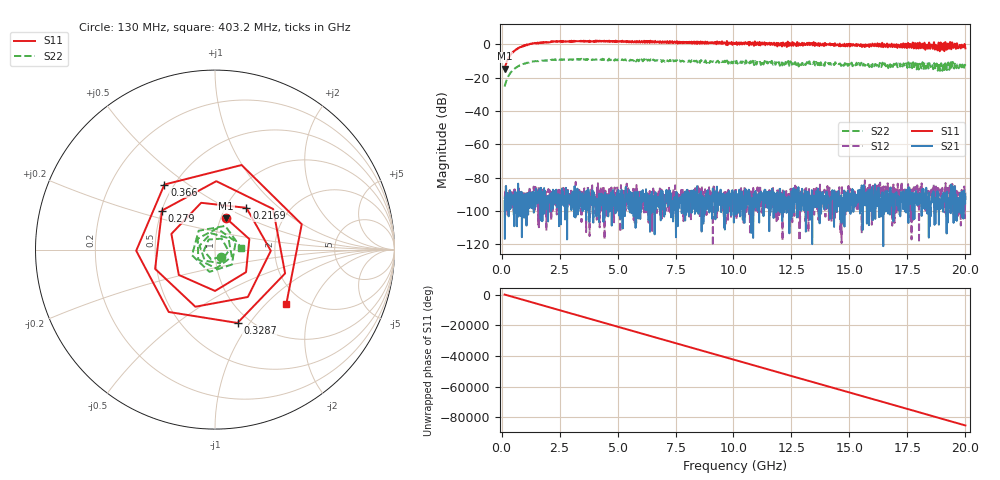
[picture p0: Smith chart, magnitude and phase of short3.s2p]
!Created with skrf (http://scikit-rf.org).
# GHz S RI R 50.0
!freq ReS11 ImS11 ReS21 ImS21 ReS12 ImS12 ReS22 ImS22
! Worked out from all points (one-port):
!   1601 points, 130 MHz to 20 GHz, reference 50 ohm
!   lowest |S11| = -14.6 dB at 130 MHz (marker M1), VSWR 1.46, Z = 53 + j19.2 ohm
!   |S11| at or under -10 dB: start of sweep to 235.7 MHz
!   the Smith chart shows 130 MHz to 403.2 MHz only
!   S11 on the Smith chart (normalised r, x): 130 MHz: 1.06, +0.38; 216.9 MHz: 1.25, +0.63; 279 MHz: 0.50, +0.25; 328.7 MHz: 0.88, -0.88; 366 MHz: 0.44, +0.41; 403.2 MHz: 1.64, -1.34
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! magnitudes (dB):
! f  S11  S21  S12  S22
! 130 MHz  -14.6  -94.1  -93.0  -25.3
! 216.9 MHz  -10.7  -99.4  -90.5  -21.5
! 279 MHz  -8.7  -91.0  -91.4  -19.6
! 328.7 MHz  -7.4  -95.2  -87.4  -18.2
! 366 MHz  -6.8  -95.0  -95.5  -17.6
! 403.2 MHz  -6.0  -89.4  -89.2  -16.7
! 738.5 MHz  -2.1  -93.0  -86.5  -12.9
! 1.297 GHz  0.4  -92.8  -94.7  -10.5
! 2.229 GHz  1.8  -89.3  -95.9  -9.2
! 3.446 GHz  1.8  -92.2  -106.7  -8.8
! 6.762 GHz  1.5  -91.5  -92.1  -9.9
! 10.06 GHz  0.5  -90.8  -91.7  -11.8
! 12.54 GHz  1.4  -96.7  -106.9  -11.6
! 12.9 GHz  0.0  -97.1  -90.5  -12.0
! 13.38 GHz  0.7  -87.6  -93.7  -10.9
! 14.95 GHz  0.1  -100.1  -90.4  -12.7
! 15.31 GHz  0.0  -90.9  -97.7  -11.0
! 16.7 GHz  -0.2  -96.5  -86.3  -12.2
! 18.44 GHz  1.1  -89.2  -95.1  -11.3
! 18.91 GHz  -2.0  -98.8  -95.8  -15.9
! 19.34 GHz  1.5  -89.3  -90.6  -10.7
! 20 GHz  -2.4  -91.8  -89.0  -12.7
